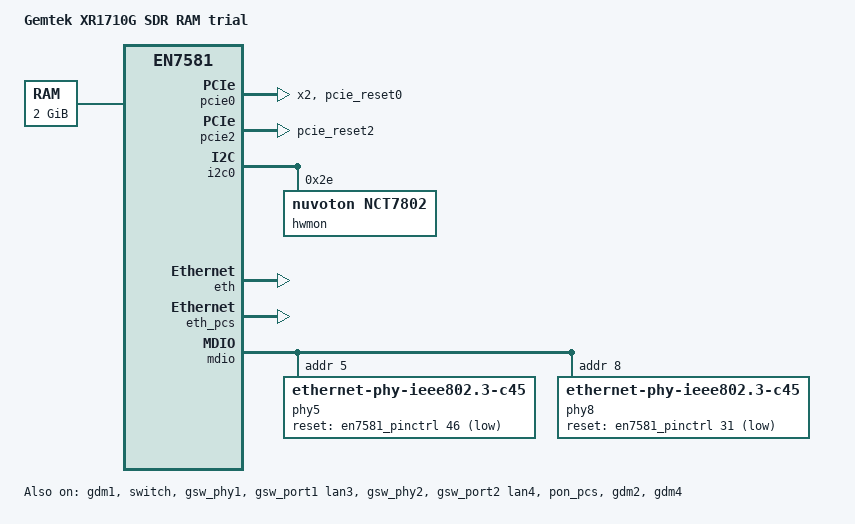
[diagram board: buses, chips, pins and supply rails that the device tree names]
// SPDX-License-Identifier: GPL-2.0-or-later OR MIT
/dts-v1/;

#include <dt-bindings/gpio/gpio.h>
#include <dt-bindings/phy/phy.h>
#include "an7581.dtsi"

/delete-node/ &sound;
/delete-node/ &afe;
/* A fixed clock is not an MMIO child of the SoC bus; it moves to the root below. */
/delete-node/ &i2cclock;

/* XR1710G wiring cross-checked against its upstream board support.
 * RAM trial: flash controllers are disabled; calibration comes from the host.
 */
/ {
	model = "Gemtek XR1710G SDR RAM trial";
	compatible = "gemtek,xr1710g", "gemtek,xr1710g-sdr", "airoha,an7581", "airoha,en7581";

	aliases {
		serial0 = &uart1;
		ethernet0 = &gdm1;
	};

	chosen {
		bootargs = "console=ttyS0,115200 earlycon panic=5 ro rdinit=/init";
		stdout-path = "serial0:115200n8";
	};

	i2cclock: clock-i2c {
		compatible = "fixed-clock";
		#clock-cells = <0>;
		clock-frequency = <20000000>;
	};

	memory@80000000 {
		device_type = "memory";
		reg = <0x0 0x80000000 0x0 0x80000000>;
	};

	/* The existing shim supplies detected DRAM and initrd addresses. */
};

&en7581_pinctrl {
	gpio-ranges = <&en7581_pinctrl 0 13 47>;

	mdio_pins: mdio-pins {
		mux {
			function = "mdio";
			groups = "mdio";
		};
		conf {
			pins = "gpio2";
			output-high;
		};
	};

	pcie0_rst_pins: pcie0-rst-pins {
		conf {
			pins = "pcie_reset0";
			drive-open-drain = <1>;
		};
	};

	pcie2_rst_pins: pcie2-rst-pins {
		conf {
			pins = "pcie_reset2";
			drive-open-drain = <1>;
		};
	};
};

&pcie0 {
	status = "okay";
	reg = <0x0 0x1fc00000 0x0 0x1670>,
	      <0x0 0x1fc20000 0x0 0x1670>;
	reg-names = "pcie-mac", "sec-pcie-mac";
	resets = <&scuclk EN7581_PCIE0_RST>,
		 <&scuclk EN7581_PCIE1_RST>,
		 <&scuclk EN7581_PCIC_PERSTOUT0_RST>,
		 <&scuclk EN7581_PCIC_PERSTOUT1_RST>;
	reset-names = "phy-lane0", "phy-lane1", "perstout", "sec-perstout";
	num-lanes = <2>;
	airoha,scu = <&scuclk>;
	pinctrl-names = "default";
	pinctrl-0 = <&pcie0_rst_pins>;
	/* The MT7996 is found by PCI enumeration; its calibration is supplied
	 * by the host, not read from a factory partition here. */
};

&pcie1 {
	status = "disabled";
};

&pcie2 {
	status = "okay";
	pinctrl-names = "default";
	pinctrl-0 = <&pcie2_rst_pins>;
};

&i2c0 {
	status = "okay";
	hwmon@2e {
		compatible = "nuvoton,nct7802";
		reg = <0x2e>;
	};
};

&npu {
	status = "disabled";
};

&eth {
	status = "okay";
	/delete-property/ airoha,npu;
};

&gdm1 {
	status = "okay";
	/* With no MAC supplied, the driver generates a local unicast address. */
};

&switch {
	status = "okay";
	/delete-property/ #address-cells;
	/delete-property/ #size-cells;
	pinctrl-names = "default";
	pinctrl-0 = <&mdio_pins>;
};

&gsw_phy1 {
	status = "okay";
	interrupts = <1>;
};

&gsw_port1 {
	status = "okay";
	label = "lan3";
};

&gsw_phy2 {
	status = "okay";
	interrupts = <2>;
};

&gsw_port2 {
	status = "okay";
	label = "lan4";
};

/* The ATF, NPU firmware and QDMA reservations of the SoC include stay; the
 * Wi-Fi-only NPU pools are left out. Auxiliary UARTs stay disabled.
 */
&snfi {
	status = "disabled";
};

&spi_nand {
	status = "disabled";
};

/* The two 10 GbE ports, wired as in OpenWrt: RTL8261N PHYs (W1700K) or
 * RTL8261CE PHYs (W1700K2) on the switch MDIO bus over USXGMII, polarity
 * inverted both ways on both. GDM2 is OpenWrt's wan (PHY 8), GDM4 its lan2
 * (PHY 5). The generic C45 compatible lets the kernel pick the driver by the
 * PHY's ID; each needs its firmware file (rtl8261n.bin, rtl_nic/rtl8261c.bin),
 * both of which the kernel has built in.
 */
&pon_pcs {
	status = "okay";
};

&eth_pcs {
	status = "okay";
};

&gdm2 {
	status = "okay";
	managed = "in-band-status";
	phy-handle = <&phy8>;
	phy-mode = "usxgmii";
};

&gdm4 {
	status = "okay";
	managed = "in-band-status";
	phy-handle = <&phy5>;
	phy-mode = "usxgmii";
};

&mdio {
	phy5: ethernet-phy@5 {
		compatible = "ethernet-phy-ieee802.3-c45";
		reg = <5>;
		reset-gpios = <&en7581_pinctrl 46 GPIO_ACTIVE_LOW>;
		reset-assert-us = <200000>;
		reset-deassert-us = <200000>;
		tx-polarity = <PHY_POL_INVERT>;
		rx-polarity = <PHY_POL_INVERT>;
	};

	phy8: ethernet-phy@8 {
		compatible = "ethernet-phy-ieee802.3-c45";
		reg = <8>;
		reset-gpios = <&en7581_pinctrl 31 GPIO_ACTIVE_LOW>;
		reset-assert-us = <200000>;
		reset-deassert-us = <200000>;
		tx-polarity = <PHY_POL_INVERT>;
		rx-polarity = <PHY_POL_INVERT>;
	};
};
